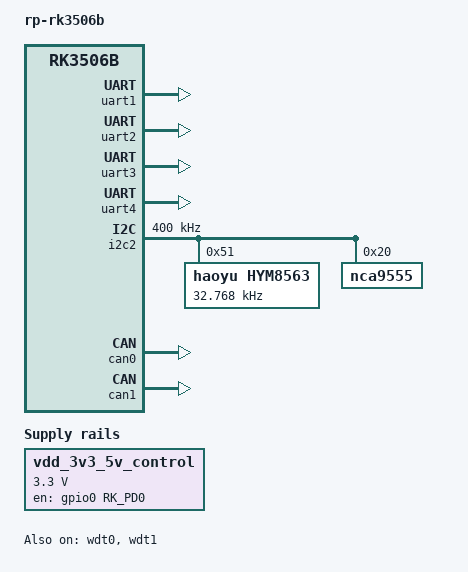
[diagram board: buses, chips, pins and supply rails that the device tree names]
// SPDX-License-Identifier: (GPL-2.0+ OR MIT)
/*
 * Copyright (c) 2024 Rockchip Electronics Co., Ltd.
 */

/dts-v1/;
#include <dt-bindings/gpio/nca9555-gpio.h>

#include "rp-rk3506b-board.dtsi"

#include "rp-adc.dtsi"

#include "rp-usb2.0-otg0-typeA.dtsi"
#include "rp-usb2.0-host1-typeA.dtsi"

#include "rp-audio-es8338.dtsi"
#include "rp-audio-acode.dtsi"

#include "rp-gmac0-100m.dtsi"
#include "rp-gmac1-100m.dtsi"
#include "rp-wifibt-sdmmc.dtsi"

#include "rp-lcd-mipi-7-1024-600.dtsi"
//#include "rp-lcd-rgb-7-1024-600.dtsi"

/ {
    model = "rp-rk3506b";

    vdd_3v3_5v_control: vdd-3v3-5v-control {
        compatible = "regulator-fixed";
        regulator-name = "vdd_3v3_5v_control";
        regulator-always-on;
        regulator-boot-on;
        regulator-min-microvolt = <3300000>;
        regulator-max-microvolt = <3300000>;
        enable-active-high;
        gpio = <&gpio0 RK_PD0 GPIO_ACTIVE_HIGH>;    //In the uboot phase fixed.c resolves gpio
        gpios = <&gpio0 RK_PD0 GPIO_ACTIVE_HIGH>;
        pinctrl-names = "default";
        pinctrl-0 = <&vdd_control>;
    };
	
    rp_power {
        status = "okay";
        compatible = "rp_power";
        rp_not_deep_sleep = <1>;

//#define GPIO_FUNCTION_OUTPUT 0
//#define GPIO_FUNCTION_INPUT 1
//#define GPIO_FUNCTION_IRQ 2
//#define GPIO_FUNCTION_FLASH 3
//#define GPIO_FUNCTION_OUTPUT_CTRL 4

        vdd_otg0 {     
            gpio_num = <&gpio0 RK_PB5 GPIO_ACTIVE_HIGH>;
            gpio_function = <4>;
        };
		
        LED {
            gpio_num = <&nca9555_gpio IO_02 GPIO_ACTIVE_HIGH>;
            gpio_function = <3>;
        };

        vdd_4g {
            gpio_num = <&nca9555_gpio IO_03 GPIO_ACTIVE_HIGH>;
            gpio_function = <4>;
        };
		
        4G_PWRKEY {
            gpio_num = <&nca9555_gpio IO_04 GPIO_ACTIVE_HIGH>;
            gpio_function = <4>;
        };

        hub_rst {
            gpio_num = <&nca9555_gpio IO_05 GPIO_ACTIVE_LOW>;
            gpio_function = <4>;
        };
        
        usb_power {
            gpio_num = <&nca9555_gpio IO_06 GPIO_ACTIVE_HIGH>;
            gpio_function = <4>;
        };

        spk {
            gpio_num = <&nca9555_gpio IO_07 GPIO_ACTIVE_HIGH>;
            gpio_function = <4>;
        };

        mute {
            gpio_num = <&nca9555_gpio IO_10 GPIO_ACTIVE_LOW>;
            gpio_function = <4>;
        };
    };
 
    rp_gpio {
        status = "okay";
        compatible = "rp_gpio";
        
        gpio4b3 {       
            gpio_num = <&gpio4 RK_PB3 GPIO_ACTIVE_HIGH>;
            gpio_function = <0>;
        };
		
        IO11 {    
            gpio_num = <&nca9555_gpio IO_11 GPIO_ACTIVE_HIGH>;
            gpio_function = <4>;
        };
        
        IO12 {    
            gpio_num = <&nca9555_gpio IO_12 GPIO_ACTIVE_HIGH>;
            gpio_function = <4>;
        };
        
        IO13 {    
            gpio_num = <&nca9555_gpio IO_13 GPIO_ACTIVE_HIGH>;
            gpio_function = <4>;
        };
        
        IO14 {    
            gpio_num = <&nca9555_gpio IO_14 GPIO_ACTIVE_HIGH>;
            gpio_function = <4>;
        };
        
        IO15 {    
            gpio_num = <&nca9555_gpio IO_15 GPIO_ACTIVE_HIGH>;
            gpio_function = <4>;
        };
        
        IO16 {    
            gpio_num = <&nca9555_gpio IO_16 GPIO_ACTIVE_HIGH>;
            gpio_function = <4>;
        };
        
        IO17 {    
            gpio_num = <&nca9555_gpio IO_17 GPIO_ACTIVE_HIGH>;
            gpio_function = <4>;
        };
    };
};

&wdt0 {
    status = "okay";
};

&wdt1 {
    status = "okay";
};

//TTL
&uart1 {
    status = "okay";
    pinctrl-names = "default";
    pinctrl-0 = <&rm_io17_uart1_tx &rm_io16_uart1_rx>;	
};

//RS-485
&uart2 {
    status = "okay";
    pinctrl-names = "default";
    pinctrl-0 = <&rm_io2_uart2_tx &rm_io0_uart2_rx>;      
};

//TTL
&uart3 {
    status = "okay";
    pinctrl-names = "default";
    pinctrl-0 = <&rm_io14_uart3_tx &rm_io15_uart3_rx>;
};

//TTL
&uart4 {
    status = "okay";
    pinctrl-names = "default";
    pinctrl-0 = <&rm_io30_uart4_rx &rm_io31_uart4_tx>;	    
};

&i2c2 {
    status = "okay";
    clock-frequency = <400000>;
    pinctrl-names = "default";
    pinctrl-0 = <&rm_io4_i2c2_scl &rm_io5_i2c2_sda>;
   
    hym8563: hym8563@51 {
        compatible = "haoyu,hym8563";
        reg = <0x51>;
        #clock-cells = <0>;
        clock-frequency = <32768>;
        clock-output-names = "hym8563-32k";
    };
	
    nca9555: mfd-gpio@20 {
        compatible = "nca9555";
        reg = <0x20>;
        nca9555_gpio: gpio-normal@20 {
            compatible = "nca9555-gpio";
            gpio-controller;
            #gpio-cells = <2>;
        };
    };
};

&can0 {
    status = "okay";
    assigned-clocks = <&cru CLK_CAN0>;
    assigned-clock-rates = <200000000>;
    pinctrl-names = "default";
    pinctrl-0 = <&rm_io19_can0_tx &rm_io20_can0_rx>;
};

&can1 {
    status = "okay";
    assigned-clocks = <&cru CLK_CAN1>;
    assigned-clock-rates = <200000000>;  
    pinctrl-names = "default";
    pinctrl-0 = <&rm_io25_can1_tx &rm_io26_can1_rx>;
};

&pinctrl {
    power_control{
        vdd_control: vdd-control {
            rockchip,pins = <0 RK_PD0 RK_FUNC_GPIO &pcfg_pull_up>;
        };
    };
};

